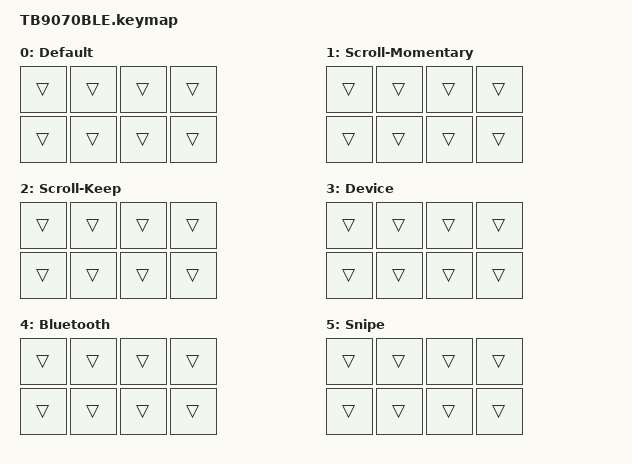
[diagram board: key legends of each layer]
#include <behaviors.dtsi>
#include <dt-bindings/zmk/bt.h>
#include <dt-bindings/zmk/keys.h>
#include <dt-bindings/zmk/pointing.h>
#include <dt-bindings/zmk/outputs.h>

// #include <dt-bindings/zmk/mouse.h>

#define DEFAULT 0
#define SCRLM 1
#define SCRLH 2
#define DEVICE 3
#define BLTH 4
#define SNIPE 5

/ {
  // combos {
  //   compatible = "zmk,combos";
  //   combo_esc {
  //     timeout-ms = <50>;
  //     key-positions = <2 3>;
  //     bindings = <&mkp RCLK>;
  //   };
  // };
  behaviors {
    ltm: layer-tap-momentary {
      compatible = "zmk,behavior-hold-tap";
      #binding-cells = <2>;
      flavor = "tap-preferred";
      tapping-term-ms = <200>;
      bindings = <&mo>, <&mkp>;
    };
    // lth: layer-tap-hold-while-undecided {
    //   compatible = "zmk,behavior-hold-tap";
    //   #binding-cells = <2>;
    //   flavor = "hold-preferred";
    //   hold-while-undecided;
    //   tapping-term-ms = <150>;
    //   bindings = <&mo>, <&mkp>;
    // };
    mto: momentary-or-toggle {
      compatible = "zmk,behavior-hold-tap";
      #binding-cells = <2>;
      flavor = "hold-preferred";
      hold-while-undecided;
      tapping-term-ms = <200>;
      bindings = <&mo>, <&to>;
    };
  };
  keymap {
    compatible = "zmk,keymap";
    default_layer {
      display-name = "Default";
      bindings = <
        &trans &trans &trans &trans
        &trans &trans &trans &trans
      >;
    };

    scroll_tap_layer {
      display-name = "Scroll-Momentary";
      bindings = <
        &trans &trans &trans &trans
        &trans &trans &trans &trans
      >;
    };
    scroll_hold_layer {
      display-name = "Scroll-Keep";
      bindings = <
        &trans &trans &trans &trans
        &trans &trans &trans &trans
      >;
    };
    device_layer {
      display-name = "Device";
      bindings = <
        &trans &trans &trans &trans
        &trans &trans &trans &trans
      >;
    };
    bluetooth_layer {
      display-name = "Bluetooth";
      bindings = <
        &trans &trans &trans &trans
        &trans &trans &trans &trans
      >;
    };
    snipe_layer {
      display-name = "Snipe";
      bindings = <
        &trans &trans &trans &trans
        &trans &trans &trans &trans
      >;
    };
  };
};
